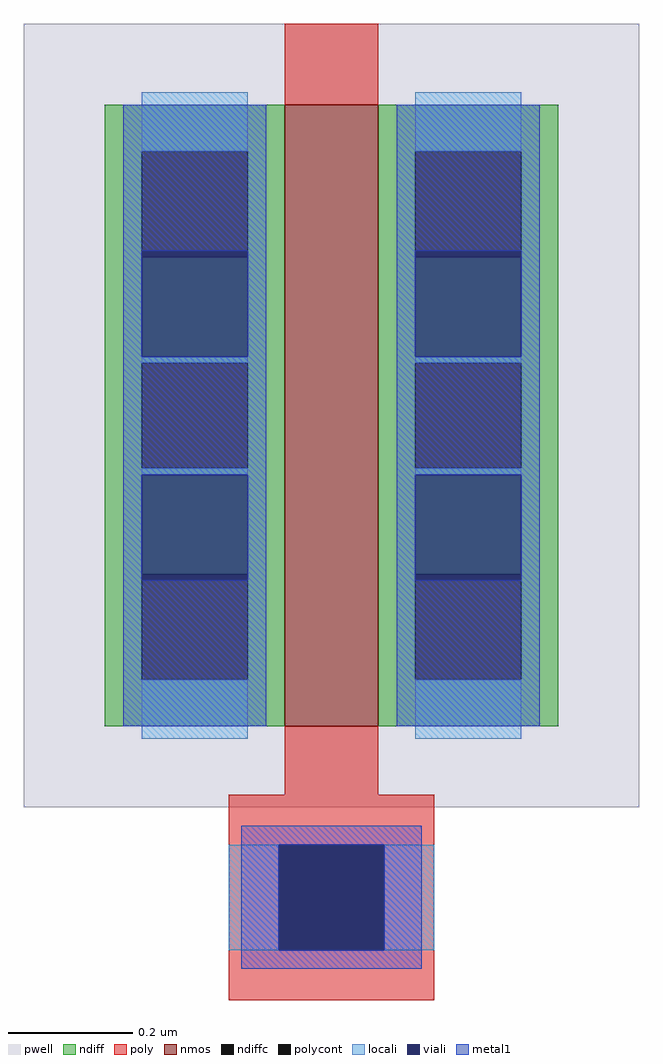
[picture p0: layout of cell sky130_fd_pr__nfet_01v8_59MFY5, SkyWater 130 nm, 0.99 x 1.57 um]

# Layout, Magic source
magic
tech sky130A
magscale 1 2
<< pwell >>
rect -99 -95 99 157
<< nmos >>
rect -15 -69 15 131
<< ndiff >>
rect -73 116 -15 131
rect -73 82 -61 116
rect -27 82 -15 116
rect -73 48 -15 82
rect -73 14 -61 48
rect -27 14 -15 48
rect -73 -20 -15 14
rect -73 -54 -61 -20
rect -27 -54 -15 -20
rect -73 -69 -15 -54
rect 15 116 73 131
rect 15 82 27 116
rect 61 82 73 116
rect 15 48 73 82
rect 15 14 27 48
rect 61 14 73 48
rect 15 -20 73 14
rect 15 -54 27 -20
rect 61 -54 73 -20
rect 15 -69 73 -54
<< ndiffc >>
rect -61 82 -27 116
rect -61 14 -27 48
rect -61 -54 -27 -20
rect 27 82 61 116
rect 27 14 61 48
rect 27 -54 61 -20
<< poly >>
rect -15 131 15 157
rect -15 -91 15 -69
rect -33 -107 33 -91
rect -33 -141 -17 -107
rect 17 -141 33 -107
rect -33 -157 33 -141
<< polycont >>
rect -17 -141 17 -107
<< locali >>
rect -61 116 -27 135
rect -61 48 -27 50
rect -61 12 -27 14
rect -61 -73 -27 -54
rect 27 116 61 135
rect 27 48 61 50
rect 27 12 61 14
rect 27 -73 61 -54
rect -33 -141 -17 -107
rect 17 -141 33 -107
<< viali >>
rect -61 82 -27 84
rect -61 50 -27 82
rect -61 -20 -27 12
rect -61 -22 -27 -20
rect 27 82 61 84
rect 27 50 61 82
rect 27 -20 61 12
rect 27 -22 61 -20
rect -17 -141 17 -107
<< metal1 >>
rect -67 84 -21 131
rect -67 50 -61 84
rect -27 50 -21 84
rect -67 12 -21 50
rect -67 -22 -61 12
rect -27 -22 -21 12
rect -67 -69 -21 -22
rect 21 84 67 131
rect 21 50 27 84
rect 61 50 67 84
rect 21 12 67 50
rect 21 -22 27 12
rect 61 -22 67 12
rect 21 -69 67 -22
rect -29 -107 29 -101
rect -29 -141 -17 -107
rect 17 -141 29 -107
rect -29 -147 29 -141
<< end >>
